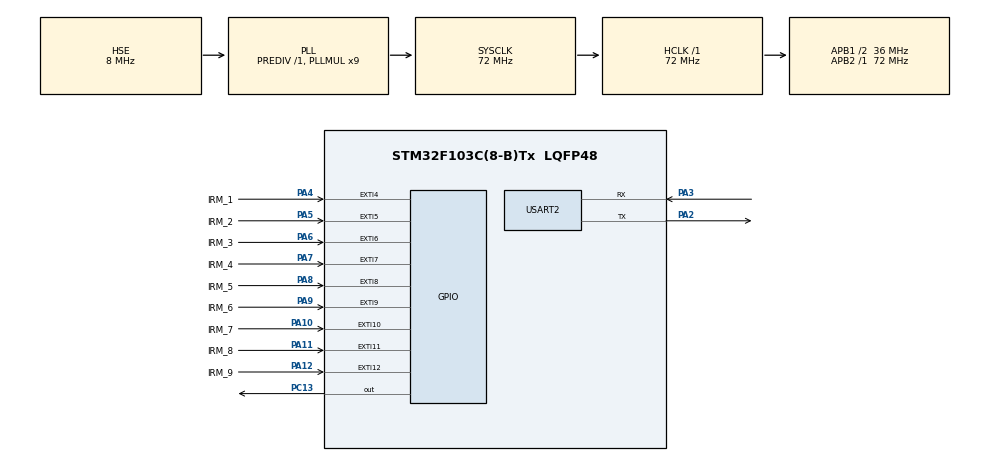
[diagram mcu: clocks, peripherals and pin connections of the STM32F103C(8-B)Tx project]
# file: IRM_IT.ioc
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Mcu.Family=STM32F1
Mcu.Name=STM32F103C(8-B)Tx
Mcu.Package=LQFP48
NVIC.EXTI15_10_IRQn=true\:0\:0\:true\:false\:true\:true\:true\:true
NVIC.EXTI4_IRQn=true\:0\:0\:true\:false\:true\:true\:true\:true
NVIC.EXTI9_5_IRQn=true\:0\:0\:true\:false\:true\:true\:true\:true
NVIC.PriorityGroup=NVIC_PRIORITYGROUP_4
PA10.GPIO_Label=IRM_7
PA10.GPIO_ModeDefaultEXTI=GPIO_MODE_IT_FALLING
PA10.Signal=GPXTI10
PA11.GPIO_Label=IRM_8
PA11.GPIO_ModeDefaultEXTI=GPIO_MODE_IT_FALLING
PA11.Signal=GPXTI11
PA12.GPIO_Label=IRM_9
PA12.GPIO_ModeDefaultEXTI=GPIO_MODE_IT_FALLING
PA12.Signal=GPXTI12
PA13.Mode=Serial_Wire
PA13.Signal=SYS_JTMS-SWDIO
PA14.Mode=Serial_Wire
PA14.Signal=SYS_JTCK-SWCLK
PA2.Mode=Asynchronous
PA2.Signal=USART2_TX
PA3.Mode=Asynchronous
PA3.Signal=USART2_RX
PA4.GPIO_Label=IRM_1
PA4.GPIO_ModeDefaultEXTI=GPIO_MODE_IT_FALLING
PA4.Signal=GPXTI4
PA5.GPIO_Label=IRM_2
PA5.GPIO_ModeDefaultEXTI=GPIO_MODE_IT_FALLING
PA5.Signal=GPXTI5
PA6.GPIO_Label=IRM_3
PA6.GPIO_ModeDefaultEXTI=GPIO_MODE_IT_FALLING
PA6.Signal=GPXTI6
PA7.GPIO_Label=IRM_4
PA7.GPIO_ModeDefaultEXTI=GPIO_MODE_IT_FALLING
PA7.Signal=GPXTI7
PA8.GPIO_Label=IRM_5
PA8.GPIO_ModeDefaultEXTI=GPIO_MODE_IT_FALLING
PA8.Signal=GPXTI8
PA9.GPIO_Label=IRM_6
PA9.GPIO_ModeDefaultEXTI=GPIO_MODE_IT_FALLING
PA9.Signal=GPXTI9
PC13-TAMPER-RTC.Signal=GPIO_Output
PD0-OSC_IN.Mode=HSE-External-Oscillator
PD0-OSC_IN.Signal=RCC_OSC_IN
PD1-OSC_OUT.Mode=HSE-External-Oscillator
PD1-OSC_OUT.Signal=RCC_OSC_OUT
ProjectManager.HeapSize=0x200
ProjectManager.StackSize=0x400
ProjectManager.TargetToolchain=MDK-ARM V5.32
RCC.AHBFreq_Value=72000000
RCC.APB1CLKDivider=RCC_HCLK_DIV2
RCC.APB1Freq_Value=36000000
RCC.APB1TimFreq_Value=72000000
RCC.APB2Freq_Value=72000000
RCC.APB2TimFreq_Value=72000000
RCC.HCLKFreq_Value=72000000
RCC.PLLMUL=RCC_PLL_MUL9
RCC.PLLSourceVirtual=RCC_PLLSOURCE_HSE
RCC.SYSCLKFreq_VALUE=72000000
RCC.SYSCLKSource=RCC_SYSCLKSOURCE_PLLCLK
RCC.USBFreq_Value=72000000
USART2.VirtualMode=VM_ASYNC
board=custom

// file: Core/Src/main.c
/* USER CODE BEGIN Header */
/* USER CODE END Header */
#include "main.h"
#include "usart.h"
#include "gpio.h"

void SystemClock_Config(void);

/* USER CODE BEGIN 0 */
void HAL_GPIO_EXTI_Callback(uint16_t GPIO_Pin)
{
  if (GPIO_Pin == IRM_1_Pin)
  {
    HAL_UART_Transmit(&huart2, "1", sizeof("1"), 1000);
    HAL_GPIO_TogglePin(GPIOC, GPIO_PIN_13); // Toggle the LED on PC13
  }
  if (GPIO_Pin == IRM_2_Pin)
  {
    HAL_UART_Transmit(&huart2, "2", sizeof("2"), 1000);
    HAL_GPIO_TogglePin(GPIOC, GPIO_PIN_13); // Toggle the LED on PC13
  }
  if (GPIO_Pin == IRM_3_Pin)
  {
    HAL_UART_Transmit(&huart2, "3", sizeof("3"), 1000);
    HAL_GPIO_TogglePin(GPIOC, GPIO_PIN_13); // Toggle the LED on PC13
  }
  if (GPIO_Pin == IRM_4_Pin)
  {
    HAL_UART_Transmit(&huart2, "4", sizeof("4"), 1000);
    HAL_GPIO_TogglePin(GPIOC, GPIO_PIN_13); // Toggle the LED on PC13
  }
  if (GPIO_Pin == IRM_5_Pin)
  {
    HAL_UART_Transmit(&huart2, "5", sizeof("5"), 1000);
    HAL_GPIO_TogglePin(GPIOC, GPIO_PIN_13); // Toggle the LED on PC13
  }
  if (GPIO_Pin == IRM_6_Pin)
  {
    HAL_UART_Transmit(&huart2, "6", sizeof("6"), 1000);
    HAL_GPIO_TogglePin(GPIOC, GPIO_PIN_13); // Toggle the LED on PC13
  }
  if (GPIO_Pin == IRM_7_Pin)
  {
    HAL_UART_Transmit(&huart2, "7", sizeof("7"), 1000);
    HAL_GPIO_TogglePin(GPIOC, GPIO_PIN_13); // Toggle the LED on PC13
  }
  if (GPIO_Pin == IRM_8_Pin)
  {
    HAL_UART_Transmit(&huart2, "8", sizeof("8"), 1000);
    HAL_GPIO_TogglePin(GPIOC, GPIO_PIN_13); // Toggle the LED on PC13
  }
  if (GPIO_Pin == IRM_9_Pin)
  {
    HAL_UART_Transmit(&huart2, "9", sizeof("9"), 1000);
    HAL_GPIO_TogglePin(GPIOC, GPIO_PIN_13); // Toggle the LED on PC13
  }
}
/* USER CODE END 0 */

int main(void)
{

  /* MCU Configuration--------------------------------------------------------*/

  /* Reset of all peripherals, Initializes the Flash interface and the Systick. */
  HAL_Init();

  /* Configure the system clock */
  SystemClock_Config();

  /* Initialize all configured peripherals */
  MX_GPIO_Init();
  MX_USART2_UART_Init();

  /* Infinite loop */
  /* USER CODE BEGIN WHILE */
  HAL_UART_Transmit(&huart2, (uint8_t*) "REBOOT", sizeof("REBOOT"), 1000);
  while (1)
  {
    HAL_GPIO_TogglePin(GPIOC, GPIO_PIN_13); // Toggle the LED on PC13
    HAL_Delay(500); // Delay for 500 ms to see the toggle effect

    /* USER CODE END WHILE */

  }
}

void SystemClock_Config(void)
{
  RCC_OscInitTypeDef RCC_OscInitStruct = {0};
  RCC_ClkInitTypeDef RCC_ClkInitStruct = {0};

  /** Initializes the RCC Oscillators according to the specified parameters
  * in the RCC_OscInitTypeDef structure.
  */
  RCC_OscInitStruct.OscillatorType = RCC_OSCILLATORTYPE_HSE;
  RCC_OscInitStruct.HSEState = RCC_HSE_ON;
  RCC_OscInitStruct.HSEPredivValue = RCC_HSE_PREDIV_DIV1;
  RCC_OscInitStruct.HSIState = RCC_HSI_ON;
  RCC_OscInitStruct.PLL.PLLState = RCC_PLL_ON;
  RCC_OscInitStruct.PLL.PLLSource = RCC_PLLSOURCE_HSE;
  RCC_OscInitStruct.PLL.PLLMUL = RCC_PLL_MUL9;
  if (HAL_RCC_OscConfig(&RCC_OscInitStruct) != HAL_OK)
  {
    Error_Handler();
  }

  /** Initializes the CPU, AHB and APB buses clocks
  */
  RCC_ClkInitStruct.ClockType = RCC_CLOCKTYPE_HCLK|RCC_CLOCKTYPE_SYSCLK
                              |RCC_CLOCKTYPE_PCLK1|RCC_CLOCKTYPE_PCLK2;
  RCC_ClkInitStruct.SYSCLKSource = RCC_SYSCLKSOURCE_PLLCLK;
  RCC_ClkInitStruct.AHBCLKDivider = RCC_SYSCLK_DIV1;
  RCC_ClkInitStruct.APB1CLKDivider = RCC_HCLK_DIV2;
  RCC_ClkInitStruct.APB2CLKDivider = RCC_HCLK_DIV1;

  if (HAL_RCC_ClockConfig(&RCC_ClkInitStruct, FLASH_LATENCY_2) != HAL_OK)
  {
    Error_Handler();
  }
}

void Error_Handler(void)
{
}
